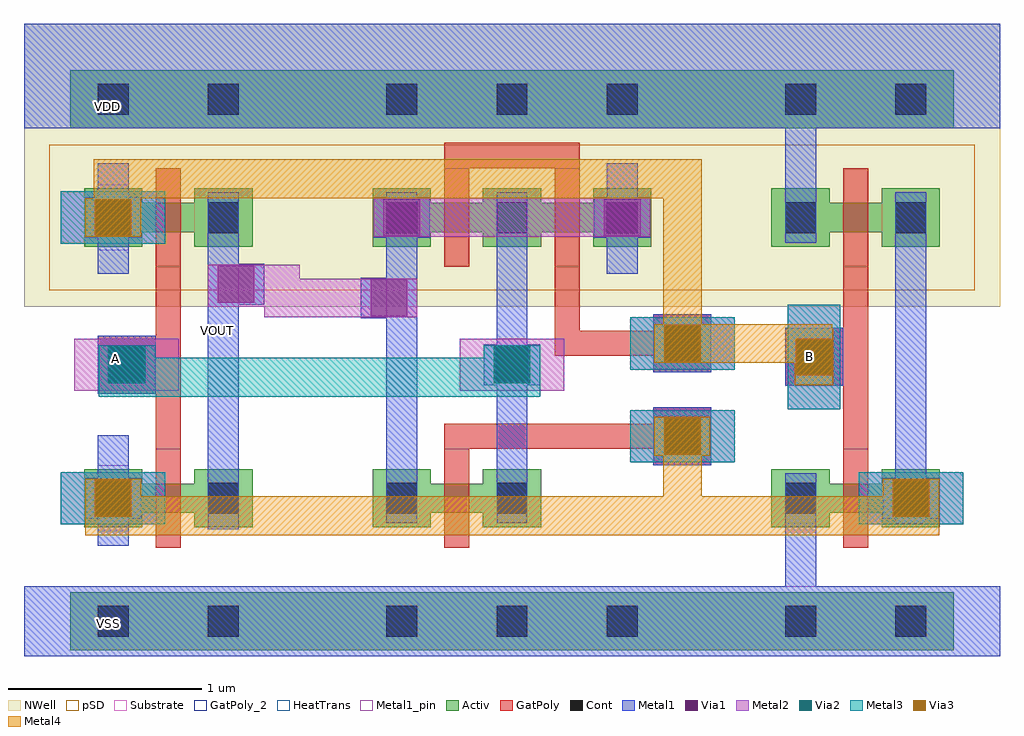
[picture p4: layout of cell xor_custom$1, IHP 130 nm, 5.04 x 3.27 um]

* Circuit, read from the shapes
.subckt xor_custom$1 A B VDD VOUT VSS
XM1 VOUT A inv_CDR$1_0/VOUT VSS sg13_lv_nmos w=0.15u l=0.13u
XM2 A inv_CDR$1_0/VOUT VOUT VSS sg13_lv_nmos w=0.15u l=0.13u
XM3 inv_CDR$1_0/VOUT B VSS VSS sg13_lv_nmos w=0.15u l=0.13u
XM4 VOUT A B VDD sg13_lv_pmos w=0.15u l=0.13u
XM5 A B VOUT VDD sg13_lv_pmos w=0.15u l=0.13u m=2
XM6 inv_CDR$1_0/VOUT B VDD VDD sg13_lv_pmos w=0.15u l=0.13u
.ends

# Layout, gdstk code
import gdstk
lib = gdstk.Library(unit=1e-6, precision=1e-09)
def R(c, l, rs):  # rectangles x0, y0, x1, y1
    for r in rs: c.add(gdstk.rectangle(r[:2], r[2:], *l))
def A(c, l, x, y, w, h, nx, ny, dx, dy):  # array of equal rectangles
    R(c, l, [(x+i*dx, y+j*dy, x+i*dx+w, y+j*dy+h) for i in range(nx) for j in range(ny)])
Activ = (1, 0)
GatPoly = (5, 0)
GatPoly_2 = (5, 2)
Cont = (6, 0)
Metal1 = (8, 0)
Metal1_pin = (8, 2)
Metal2 = (10, 0)
pSD = (14, 0)
Via1 = (19, 0)
Via2 = (29, 0)
Metal3 = (30, 0)
NWell = (31, 0)
Substrate = (40, 0)
Via3 = (49, 0)
Metal4 = (50, 0)
HeatTrans = (51, 0)

pmos_11_1 = lib.new_cell('pmos$11$1')
R(pmos_11_1, Activ, [(0,0,0.3,0.3), (0.57,0,0.87,0.3), (0,0.075,0.87,0.225)])
R(pmos_11_1, GatPoly, [(0.37,-0.105,0.5,0.405)])
R(pmos_11_1, Cont, [(0.07,0.07,0.23,0.23), (0.64,0.07,0.8,0.23)])
R(pmos_11_1, Metal1, [(0.07,0.02,0.23,0.28), (0.64,0.02,0.8,0.28)])
R(pmos_11_1, pSD, [(-0.18,-0.225,1.05,0.525)])
R(pmos_11_1, NWell, [(-0.31,-0.31,1.18,0.61), (-0.31,-0.31,1.18,0.61), (-0.31,-0.31,1.18,0.61), (-0.31,-0.31,1.18,0.61), (-0.31,-0.31,1.18,0.61), (-0.31,-0.31,1.18,0.61)])
R(pmos_11_1, Substrate, [(0.57,0,0.87,0.3), (0.57,0,0.87,0.3), (0.57,0,0.87,0.3), (0.57,0,0.87,0.3), (0.57,0,0.87,0.3), (0.57,0,0.87,0.3)])
R(pmos_11_1, HeatTrans, [(0.37,-0.105,0.5,0.405)])
pmos_11_1.add(gdstk.Label('pmos', (0.435,0.15), layer=63, texttype=0))
pmos_11_1.add(gdstk.Label('pmos', (0.435,0.15), layer=63, texttype=0))
pmos_11_1.add(gdstk.Label('pmos', (0.435,0.15), layer=63, texttype=0))
pmos_11_1.add(gdstk.Label('pmos', (0.435,0.15), layer=63, texttype=0))
pmos_11_1.add(gdstk.Label('pmos', (0.435,0.15), layer=63, texttype=0))
pmos_11_1.add(gdstk.Label('pmos', (0.435,0.15), layer=63, texttype=0))

nmos_19_1 = lib.new_cell('nmos$19$1')
R(nmos_19_1, Activ, [(0,0,0.3,0.3), (0.57,0,0.87,0.3), (0,0.075,0.87,0.225)])
R(nmos_19_1, GatPoly, [(0.37,-0.105,0.5,0.405)])
R(nmos_19_1, GatPoly_2, [(0.37,-0.105,0.5,0.405)])
R(nmos_19_1, Cont, [(0.07,0.07,0.23,0.23), (0.64,0.07,0.8,0.23)])
R(nmos_19_1, Metal1, [(0.07,0.02,0.23,0.28), (0.64,0.02,0.8,0.28)])
R(nmos_19_1, Metal1_pin, [(0.07,0.02,0.23,0.28), (0.64,0.02,0.8,0.28)])
R(nmos_19_1, HeatTrans, [(0.37,-0.105,0.5,0.405)])
nmos_19_1.add(gdstk.Label('nmos', (0.435,0.15), layer=63, texttype=0))
nmos_19_1.add(gdstk.Label('nmos', (0.435,0.15), layer=63, texttype=0))
nmos_19_1.add(gdstk.Label('nmos', (0.435,0.15), layer=63, texttype=0))
nmos_19_1.add(gdstk.Label('nmos', (0.435,0.15), layer=63, texttype=0))
nmos_19_1.add(gdstk.Label('nmos', (0.435,0.15), layer=63, texttype=0))
nmos_19_1.add(gdstk.Label('nmos', (0.435,0.15), layer=63, texttype=0))

inv_cdr_1 = lib.new_cell('inv_CDR$1')
R(inv_cdr_1, Activ, [(0.48,-0.04,1.49,0.26), (0.48,2.655,1.49,2.955)])
R(inv_cdr_1, GatPoly, [(0.92,0.76,1.05,2.45), (0.62,1.325,0.92,1.625)])
R(inv_cdr_1, Cont, [(0.62,0.03,0.78,0.19), (1.19,0.03,1.35,0.19), (0.69,1.395,0.85,1.555), (0.62,2.725,0.78,2.885), (1.19,2.725,1.35,2.885)])
R(inv_cdr_1, Metal1, [(0.24,-0.07,1.73,0.29), (0.62,-0.04,0.78,0.875), (1.19,0.615,1.35,2.325), (0.62,1.325,0.92,1.625), (0.62,2.065,0.78,2.955), (0.24,2.655,1.73,3.195)])
R(inv_cdr_1, Metal1_pin, [(0.24,-0.07,1.73,0.29), (1.19,0.615,1.35,2.325), (0.62,1.325,0.92,1.625), (0.24,2.655,1.73,3.195)])
R(inv_cdr_1, pSD, [(0.24,-0.07,1.73,0.29)])
R(inv_cdr_1, NWell, [(0.24,2.655,1.73,3.195), (0.24,2.655,1.73,3.195), (0.24,2.655,1.73,3.195), (0.24,2.655,1.73,3.195), (0.24,2.655,1.73,3.195)])
inv_cdr_1.add(gdstk.Reference(pmos_11_1, (0.55,2.045)))
inv_cdr_1.add(gdstk.Reference(nmos_19_1, (0.55,0.595)))
inv_cdr_1.add(gdstk.Label('VOUT', (1.24,1.655), layer=8, texttype=25))
inv_cdr_1.add(gdstk.Label('VDD', (0.675,2.805), layer=8, texttype=25))
inv_cdr_1.add(gdstk.Label('VIN', (0.73,1.475), layer=8, texttype=25))
inv_cdr_1.add(gdstk.Label('VSS', (0.64,0.09), layer=8, texttype=25))

pmos_3 = lib.new_cell('pmos$3')
A(pmos_3, Activ, 0, 0, 0.3, 0.3, 3, 1, 0.57, 0)
R(pmos_3, Activ, [(0,0.075,1.44,0.225)])
R(pmos_3, GatPoly, [(0.37,-0.105,0.5,0.405), (0.37,-0.105,0.5,0.405), (0.94,-0.105,1.07,0.405)])
A(pmos_3, Cont, 0.07, 0.07, 0.16, 0.16, 3, 1, 0.57, 0)
R(pmos_3, Metal1, [(0.07,0.02,0.23,0.28), (0.07,0.02,0.23,0.28), (0.64,0.02,0.8,0.28), (0.64,0.02,0.8,0.28), (1.21,0.02,1.37,0.28)])
R(pmos_3, pSD, [(-0.18,-0.225,1.62,0.525)])
R(pmos_3, NWell, [(-0.31,-0.31,1.75,0.61)])
R(pmos_3, Substrate, [(1.14,0,1.44,0.3)])
R(pmos_3, HeatTrans, [(0.37,-0.105,0.5,0.405), (0.94,-0.105,1.07,0.405)])
pmos_3.add(gdstk.Label('pmos', (0.435,0.15), layer=63, texttype=0))
pmos_3.add(gdstk.Label('pmos', (0.435,0.15), layer=51, texttype=0))
pmos_3.add(gdstk.Label('pmos', (1.005,0.15), layer=51, texttype=0))

nmos_1 = lib.new_cell('nmos$1')
R(nmos_1, Activ, [(0,0,0.3,0.3), (0.57,0,0.87,0.3), (0,0.075,0.87,0.225)])
R(nmos_1, GatPoly, [(0.37,-0.105,0.5,0.405)])
R(nmos_1, GatPoly_2, [(0.37,-0.105,0.5,0.405)])
R(nmos_1, Cont, [(0.07,0.07,0.23,0.23), (0.64,0.07,0.8,0.23)])
R(nmos_1, Metal1, [(0.07,0.02,0.23,0.28), (0.64,0.02,0.8,0.28)])
R(nmos_1, Metal1_pin, [(0.07,0.02,0.23,0.28), (0.64,0.02,0.8,0.28)])
R(nmos_1, HeatTrans, [(0.37,-0.105,0.5,0.405)])
nmos_1.add(gdstk.Label('nmos', (0.435,0.15), layer=63, texttype=0))
nmos_1.add(gdstk.Label('nmos', (0.435,0.15), layer=51, texttype=0))

tg_custom_1 = lib.new_cell('tg_custom$1')
R(tg_custom_1, Activ, [(0.445,0.87,2.025,1.17), (0.445,0.87,2.025,1.17), (0.445,0.87,2.025,1.17), (0.445,0.87,2.025,1.17), (0.445,0.87,2.025,1.17), (0.445,0.87,2.025,1.17), (0.445,0.87,2.025,1.17), (0.445,0.87,2.025,1.17), (0.445,0.87,2.025,1.17), (0.445,0.87,2.025,1.17), (0.445,3.565,2.025,3.865), (0.445,3.565,2.025,3.865), (0.445,3.565,2.025,3.865), (0.445,3.565,2.025,3.865), (0.445,3.565,2.025,3.865), (0.445,3.565,2.025,3.865), (0.445,3.565,2.025,3.865), (0.445,3.565,2.025,3.865), (0.445,3.565,2.025,3.865), (0.445,3.565,2.025,3.865)])
R(tg_custom_1, GatPoly, [(1.965,1.825,2.265,2.125), (1.965,1.825,2.265,2.125), (1.965,1.825,2.265,2.125), (1.965,1.825,2.265,2.125), (1.965,1.825,2.265,2.125), (1.965,1.825,2.265,2.125), (1.965,1.825,2.265,2.125), (1.965,1.825,2.265,2.125), (1.965,1.825,2.265,2.125), (1.965,1.825,2.265,2.125), (0.885,1.91,1.965,2.04), (0.885,1.91,1.965,2.04), (0.885,1.91,1.965,2.04), (0.885,1.91,1.965,2.04), (0.885,1.91,1.965,2.04), (0.885,1.91,1.965,2.04), (0.885,1.91,1.965,2.04), (0.885,1.91,1.965,2.04), (0.885,1.91,1.965,2.04), (0.885,1.91,1.965,2.04), (1.965,2.305,2.265,2.605), (1.965,2.305,2.265,2.605), (1.965,2.305,2.265,2.605), (1.965,2.305,2.265,2.605), (1.965,2.305,2.265,2.605), (1.965,2.305,2.265,2.605), (1.965,2.305,2.265,2.605), (1.965,2.305,2.265,2.605), (1.965,2.305,2.265,2.605), (1.965,2.305,2.265,2.605), (1.455,2.39,1.965,2.52), (1.455,2.39,1.965,2.52), (1.455,2.39,1.965,2.52), (1.455,2.39,1.965,2.52), (1.455,2.39,1.965,2.52), (1.455,2.39,1.965,2.52), (1.455,2.39,1.965,2.52), (1.455,2.39,1.965,2.52), (1.455,2.39,1.965,2.52), (1.455,2.39,1.965,2.52), (1.455,2.39,1.585,2.85), (1.455,2.39,1.585,2.85), (1.455,2.39,1.585,2.85), (1.455,2.39,1.585,2.85), (1.455,2.39,1.585,2.85), (1.455,2.39,1.585,2.85), (1.455,2.39,1.585,2.85), (1.455,2.39,1.585,2.85), (1.455,2.39,1.585,2.85), (1.455,2.39,1.585,2.85), (0.885,3.36,1.585,3.49), (0.885,3.36,1.585,3.49), (0.885,3.36,1.585,3.49), (0.885,3.36,1.585,3.49), (0.885,3.36,1.585,3.49), (0.885,3.36,1.585,3.49), (0.885,3.36,1.585,3.49), (0.885,3.36,1.585,3.49), (0.885,3.36,1.585,3.49), (0.885,3.36,1.585,3.49)])
R(tg_custom_1, Cont, [(0.585,0.94,0.745,1.1), (0.585,0.94,0.745,1.1), (0.585,0.94,0.745,1.1), (0.585,0.94,0.745,1.1), (0.585,0.94,0.745,1.1), (0.585,0.94,0.745,1.1), (0.585,0.94,0.745,1.1), (0.585,0.94,0.745,1.1), (0.585,0.94,0.745,1.1), (0.585,0.94,0.745,1.1), (1.155,0.94,1.315,1.1), (1.155,0.94,1.315,1.1), (1.155,0.94,1.315,1.1), (1.155,0.94,1.315,1.1), (1.155,0.94,1.315,1.1), (1.155,0.94,1.315,1.1), (1.155,0.94,1.315,1.1), (1.155,0.94,1.315,1.1), (1.155,0.94,1.315,1.1), (1.155,0.94,1.315,1.1), (1.725,0.94,1.885,1.1), (1.725,0.94,1.885,1.1), (1.725,0.94,1.885,1.1), (1.725,0.94,1.885,1.1), (1.725,0.94,1.885,1.1), (1.725,0.94,1.885,1.1), (1.725,0.94,1.885,1.1), (1.725,0.94,1.885,1.1), (1.725,0.94,1.885,1.1), (1.725,0.94,1.885,1.1), (2.035,1.895,2.195,2.055), (2.035,1.895,2.195,2.055), (2.035,1.895,2.195,2.055), (2.035,1.895,2.195,2.055), (2.035,1.895,2.195,2.055), (2.035,1.895,2.195,2.055), (2.035,1.895,2.195,2.055), (2.035,1.895,2.195,2.055), (2.035,1.895,2.195,2.055), (2.035,1.895,2.195,2.055), (2.035,2.375,2.195,2.535), (2.035,2.375,2.195,2.535), (2.035,2.375,2.195,2.535), (2.035,2.375,2.195,2.535), (2.035,2.375,2.195,2.535), (2.035,2.375,2.195,2.535), (2.035,2.375,2.195,2.535), (2.035,2.375,2.195,2.535), (2.035,2.375,2.195,2.535), (0.585,3.635,0.745,3.795), (0.585,3.635,0.745,3.795), (0.585,3.635,0.745,3.795), (0.585,3.635,0.745,3.795), (0.585,3.635,0.745,3.795), (0.585,3.635,0.745,3.795), (0.585,3.635,0.745,3.795), (0.585,3.635,0.745,3.795), (0.585,3.635,0.745,3.795), (0.585,3.635,0.745,3.795), (1.155,3.635,1.315,3.795), (1.155,3.635,1.315,3.795), (1.155,3.635,1.315,3.795), (1.155,3.635,1.315,3.795), (1.155,3.635,1.315,3.795), (1.155,3.635,1.315,3.795), (1.155,3.635,1.315,3.795), (1.155,3.635,1.315,3.795), (1.155,3.635,1.315,3.795), (1.155,3.635,1.315,3.795), (1.725,3.635,1.885,3.795), (1.725,3.635,1.885,3.795), (1.725,3.635,1.885,3.795), (1.725,3.635,1.885,3.795), (1.725,3.635,1.885,3.795), (1.725,3.635,1.885,3.795), (1.725,3.635,1.885,3.795), (1.725,3.635,1.885,3.795), (1.725,3.635,1.885,3.795), (1.725,3.635,1.885,3.795)])
R(tg_custom_1, Metal1, [(0.205,0.84,2.265,1.2), (0.205,0.84,2.265,1.2), (0.205,0.84,2.265,1.2), (0.205,0.84,2.265,1.2), (0.205,0.84,2.265,1.2), (0.205,0.84,2.265,1.2), (0.205,0.84,2.265,1.2), (0.205,0.84,2.265,1.2), (0.205,0.84,2.265,1.2), (0.205,0.84,2.265,1.2), (0.585,1.525,0.745,3.235), (0.585,1.525,0.745,3.235), (0.585,1.525,0.745,3.235), (0.585,1.525,0.745,3.235), (0.585,1.525,0.745,3.235), (0.585,1.525,0.745,3.235), (0.585,1.525,0.745,3.235), (0.585,1.525,0.745,3.235), (0.585,1.525,0.745,3.235), (0.585,1.525,0.745,3.235), (1.155,1.525,1.315,3.235), (1.155,1.525,1.315,3.235), (1.155,1.525,1.315,3.235), (1.155,1.525,1.315,3.235), (1.155,1.525,1.315,3.235), (1.155,1.525,1.315,3.235), (1.155,1.525,1.315,3.235), (1.155,1.525,1.315,3.235), (1.155,1.525,1.315,3.235), (1.155,1.525,1.315,3.235), (1.965,1.825,2.265,2.125), (1.965,1.825,2.265,2.125), (1.965,1.825,2.265,2.125), (1.965,1.825,2.265,2.125), (1.965,1.825,2.265,2.125), (1.965,1.825,2.265,2.125), (1.965,1.825,2.265,2.125), (1.965,1.825,2.265,2.125), (1.965,1.825,2.265,2.125), (1.965,1.825,2.265,2.125), (1.965,2.305,2.265,2.605), (1.965,2.305,2.265,2.605), (1.965,2.305,2.265,2.605), (1.965,2.305,2.265,2.605), (1.965,2.305,2.265,2.605), (1.965,2.305,2.265,2.605), (1.965,2.305,2.265,2.605), (1.965,2.305,2.265,2.605), (1.965,2.305,2.265,2.605), (1.965,2.305,2.265,2.605), (1.725,2.815,1.885,3.385), (1.725,2.815,1.885,3.385), (1.725,2.815,1.885,3.385), (1.725,2.815,1.885,3.385), (1.725,2.815,1.885,3.385), (1.725,2.815,1.885,3.385), (1.725,2.815,1.885,3.385), (1.725,2.815,1.885,3.385), (1.725,2.815,1.885,3.385), (1.725,2.815,1.885,3.385), (0.52,3,0.81,3.21), (0.52,3,0.81,3.21), (0.52,3,0.81,3.21), (0.52,3,0.81,3.21), (0.52,3,0.81,3.21), (0.52,3,0.81,3.21), (0.52,3,0.81,3.21), (0.52,3,0.81,3.21), (0.52,3,0.81,3.21), (0.52,3,0.81,3.21), (1.66,3,1.95,3.21), (1.66,3,1.95,3.21), (1.66,3,1.95,3.21), (1.66,3,1.95,3.21), (1.66,3,1.95,3.21), (1.66,3,1.95,3.21), (1.66,3,1.95,3.21), (1.66,3,1.95,3.21), (1.66,3,1.95,3.21), (1.66,3,1.95,3.21), (0.205,3.565,2.265,4.105), (0.205,3.565,2.265,4.105), (0.205,3.565,2.265,4.105), (0.205,3.565,2.265,4.105), (0.205,3.565,2.265,4.105), (0.205,3.565,2.265,4.105), (0.205,3.565,2.265,4.105), (0.205,3.565,2.265,4.105), (0.205,3.565,2.265,4.105), (0.205,3.565,2.265,4.105)])
R(tg_custom_1, Metal1_pin, [(0.205,0.84,2.265,1.2), (0.205,0.84,2.265,1.2), (0.205,0.84,2.265,1.2), (0.205,0.84,2.265,1.2), (0.205,0.84,2.265,1.2), (0.205,0.84,2.265,1.2), (0.205,0.84,2.265,1.2), (0.205,0.84,2.265,1.2), (0.205,0.84,2.265,1.2), (0.205,0.84,2.265,1.2), (0.585,1.525,0.745,3.235), (0.585,1.525,0.745,3.235), (0.585,1.525,0.745,3.235), (0.585,1.525,0.745,3.235), (0.585,1.525,0.745,3.235), (0.585,1.525,0.745,3.235), (0.585,1.525,0.745,3.235), (0.585,1.525,0.745,3.235), (0.585,1.525,0.745,3.235), (0.585,1.525,0.745,3.235), (1.155,1.525,1.315,3.235), (1.155,1.525,1.315,3.235), (1.155,1.525,1.315,3.235), (1.155,1.525,1.315,3.235), (1.155,1.525,1.315,3.235), (1.155,1.525,1.315,3.235), (1.155,1.525,1.315,3.235), (1.155,1.525,1.315,3.235), (1.155,1.525,1.315,3.235), (1.155,1.525,1.315,3.235), (1.965,1.825,2.265,2.125), (1.965,1.825,2.265,2.125), (1.965,1.825,2.265,2.125), (1.965,1.825,2.265,2.125), (1.965,1.825,2.265,2.125), (1.965,1.825,2.265,2.125), (1.965,1.825,2.265,2.125), (1.965,1.825,2.265,2.125), (1.965,1.825,2.265,2.125), (1.965,1.825,2.265,2.125), (1.965,2.305,2.265,2.605), (1.965,2.305,2.265,2.605), (1.965,2.305,2.265,2.605), (1.965,2.305,2.265,2.605), (1.965,2.305,2.265,2.605), (1.965,2.305,2.265,2.605), (1.965,2.305,2.265,2.605), (1.965,2.305,2.265,2.605), (1.965,2.305,2.265,2.605), (1.965,2.305,2.265,2.605), (0.205,3.565,2.265,4.105), (0.205,3.565,2.265,4.105), (0.205,3.565,2.265,4.105), (0.205,3.565,2.265,4.105), (0.205,3.565,2.265,4.105), (0.205,3.565,2.265,4.105), (0.205,3.565,2.265,4.105), (0.205,3.565,2.265,4.105), (0.205,3.565,2.265,4.105), (0.205,3.565,2.265,4.105)])
R(tg_custom_1, Metal2, [(0.52,3.005,0.81,3.205), (0.52,3.005,0.81,3.205), (0.52,3.005,0.81,3.205), (0.52,3.005,0.81,3.205), (0.52,3.005,0.81,3.205), (0.52,3.005,0.81,3.205), (0.52,3.005,0.81,3.205), (0.52,3.005,0.81,3.205), (0.52,3.005,0.81,3.205), (0.52,3.005,0.81,3.205), (0.52,3.005,1.95,3.205), (0.52,3.005,1.95,3.205), (0.52,3.005,1.95,3.205), (0.52,3.005,1.95,3.205), (0.52,3.005,1.95,3.205), (0.52,3.005,1.95,3.205), (0.52,3.005,1.95,3.205), (0.52,3.005,1.95,3.205), (0.52,3.005,1.95,3.205), (0.52,3.005,1.95,3.205), (1.66,3.005,1.95,3.205), (1.66,3.005,1.95,3.205), (1.66,3.005,1.95,3.205), (1.66,3.005,1.95,3.205), (1.66,3.005,1.95,3.205), (1.66,3.005,1.95,3.205), (1.66,3.005,1.95,3.205), (1.66,3.005,1.95,3.205), (1.66,3.005,1.95,3.205), (1.66,3.005,1.95,3.205)])
R(tg_custom_1, pSD, [(0.205,0.84,2.265,1.2), (0.205,0.84,2.265,1.2), (0.205,0.84,2.265,1.2), (0.205,0.84,2.265,1.2), (0.205,0.84,2.265,1.2), (0.205,0.84,2.265,1.2), (0.205,0.84,2.265,1.2), (0.205,0.84,2.265,1.2), (0.205,0.84,2.265,1.2), (0.205,0.84,2.265,1.2)])
R(tg_custom_1, Via1, [(0.57,3.01,0.76,3.2), (0.57,3.01,0.76,3.2), (0.57,3.01,0.76,3.2), (0.57,3.01,0.76,3.2), (0.57,3.01,0.76,3.2), (0.57,3.01,0.76,3.2), (0.57,3.01,0.76,3.2), (0.57,3.01,0.76,3.2), (0.57,3.01,0.76,3.2), (0.57,3.01,0.76,3.2), (1.71,3.01,1.9,3.2), (1.71,3.01,1.9,3.2), (1.71,3.01,1.9,3.2), (1.71,3.01,1.9,3.2), (1.71,3.01,1.9,3.2), (1.71,3.01,1.9,3.2), (1.71,3.01,1.9,3.2), (1.71,3.01,1.9,3.2), (1.71,3.01,1.9,3.2), (1.71,3.01,1.9,3.2)])
R(tg_custom_1, NWell, [(0.205,3.565,2.265,4.105), (0.205,3.565,2.265,4.105), (0.205,3.565,2.265,4.105), (0.205,3.565,2.265,4.105), (0.205,3.565,2.265,4.105), (0.205,3.565,2.265,4.105), (0.205,3.565,2.265,4.105), (0.205,3.565,2.265,4.105), (0.205,3.565,2.265,4.105), (0.205,3.565,2.265,4.105)])
tg_custom_1.add(gdstk.Reference(pmos_3, (0.515,2.955)))
tg_custom_1.add(gdstk.Reference(nmos_1, (0.515,1.505)))
tg_custom_1.add(gdstk.Label('VBP', (1.235,3.715), layer=8, texttype=25))
tg_custom_1.add(gdstk.Label('VSN', (2.115,1.975), layer=8, texttype=25))
tg_custom_1.add(gdstk.Label('VIN', (0.6,3.21), layer=8, texttype=25))
tg_custom_1.add(gdstk.Label('VSP', (2.115,2.455), layer=8, texttype=25))
tg_custom_1.add(gdstk.Label('VOUT', (1.16,1.98), layer=8, texttype=25))
tg_custom_1.add(gdstk.Label('VBN', (1.335,1.02), layer=8, texttype=25))
tg_custom_1.add(gdstk.Label('VBP', (1.235,3.715), layer=8, texttype=25))
tg_custom_1.add(gdstk.Label('VSN', (2.115,1.975), layer=8, texttype=25))
tg_custom_1.add(gdstk.Label('VIN', (0.6,3.21), layer=8, texttype=25))
tg_custom_1.add(gdstk.Label('VSP', (2.115,2.455), layer=8, texttype=25))
tg_custom_1.add(gdstk.Label('VOUT', (1.16,1.98), layer=8, texttype=25))
tg_custom_1.add(gdstk.Label('VBN', (1.335,1.02), layer=8, texttype=25))
tg_custom_1.add(gdstk.Label('VBP', (1.235,3.715), layer=8, texttype=25))
tg_custom_1.add(gdstk.Label('VSN', (2.115,1.975), layer=8, texttype=25))
tg_custom_1.add(gdstk.Label('VIN', (0.6,3.21), layer=8, texttype=25))
tg_custom_1.add(gdstk.Label('VSP', (2.115,2.455), layer=8, texttype=25))
tg_custom_1.add(gdstk.Label('VOUT', (1.16,1.98), layer=8, texttype=25))
tg_custom_1.add(gdstk.Label('VBN', (1.335,1.02), layer=8, texttype=25))
tg_custom_1.add(gdstk.Label('VBP', (1.235,3.715), layer=8, texttype=25))
tg_custom_1.add(gdstk.Label('VSN', (2.115,1.975), layer=8, texttype=25))
tg_custom_1.add(gdstk.Label('VIN', (0.6,3.21), layer=8, texttype=25))
tg_custom_1.add(gdstk.Label('VSP', (2.115,2.455), layer=8, texttype=25))
tg_custom_1.add(gdstk.Label('VOUT', (1.16,1.98), layer=8, texttype=25))
tg_custom_1.add(gdstk.Label('VBN', (1.335,1.02), layer=8, texttype=25))
tg_custom_1.add(gdstk.Label('VBP', (1.235,3.715), layer=8, texttype=25))
tg_custom_1.add(gdstk.Label('VSN', (2.115,1.975), layer=8, texttype=25))
tg_custom_1.add(gdstk.Label('VIN', (0.6,3.21), layer=8, texttype=25))
tg_custom_1.add(gdstk.Label('VSP', (2.115,2.455), layer=8, texttype=25))
tg_custom_1.add(gdstk.Label('VOUT', (1.16,1.98), layer=8, texttype=25))
tg_custom_1.add(gdstk.Label('VBN', (1.335,1.02), layer=8, texttype=25))
tg_custom_1.add(gdstk.Label('VBP', (1.235,3.715), layer=8, texttype=25))
tg_custom_1.add(gdstk.Label('VSN', (2.115,1.975), layer=8, texttype=25))
tg_custom_1.add(gdstk.Label('VIN', (0.6,3.21), layer=8, texttype=25))
tg_custom_1.add(gdstk.Label('VSP', (2.115,2.455), layer=8, texttype=25))
tg_custom_1.add(gdstk.Label('VOUT', (1.16,1.98), layer=8, texttype=25))
tg_custom_1.add(gdstk.Label('VBN', (1.335,1.02), layer=8, texttype=25))
tg_custom_1.add(gdstk.Label('VBP', (1.235,3.715), layer=8, texttype=25))
tg_custom_1.add(gdstk.Label('VSN', (2.115,1.975), layer=8, texttype=25))
tg_custom_1.add(gdstk.Label('VIN', (0.6,3.21), layer=8, texttype=25))
tg_custom_1.add(gdstk.Label('VSP', (2.115,2.455), layer=8, texttype=25))
tg_custom_1.add(gdstk.Label('VOUT', (1.16,1.98), layer=8, texttype=25))
tg_custom_1.add(gdstk.Label('VBN', (1.335,1.02), layer=8, texttype=25))
tg_custom_1.add(gdstk.Label('VBP', (1.235,3.715), layer=8, texttype=25))
tg_custom_1.add(gdstk.Label('VSN', (2.115,1.975), layer=8, texttype=25))
tg_custom_1.add(gdstk.Label('VIN', (0.6,3.21), layer=8, texttype=25))
tg_custom_1.add(gdstk.Label('VSP', (2.115,2.455), layer=8, texttype=25))
tg_custom_1.add(gdstk.Label('VOUT', (1.16,1.98), layer=8, texttype=25))
tg_custom_1.add(gdstk.Label('VBN', (1.335,1.02), layer=8, texttype=25))
tg_custom_1.add(gdstk.Label('VBP', (1.235,3.715), layer=8, texttype=25))
tg_custom_1.add(gdstk.Label('VSN', (2.115,1.975), layer=8, texttype=25))
tg_custom_1.add(gdstk.Label('VIN', (0.6,3.21), layer=8, texttype=25))
tg_custom_1.add(gdstk.Label('VSP', (2.115,2.455), layer=8, texttype=25))
tg_custom_1.add(gdstk.Label('VOUT', (1.16,1.98), layer=8, texttype=25))
tg_custom_1.add(gdstk.Label('VBN', (1.335,1.02), layer=8, texttype=25))
tg_custom_1.add(gdstk.Label('VBP', (1.235,3.715), layer=8, texttype=25))
tg_custom_1.add(gdstk.Label('VSN', (2.115,1.975), layer=8, texttype=25))
tg_custom_1.add(gdstk.Label('VIN', (0.6,3.21), layer=8, texttype=25))
tg_custom_1.add(gdstk.Label('VSP', (2.115,2.455), layer=8, texttype=25))
tg_custom_1.add(gdstk.Label('VOUT', (1.16,1.98), layer=8, texttype=25))
tg_custom_1.add(gdstk.Label('VBN', (1.335,1.02), layer=8, texttype=25))

nmos_4_9_1 = lib.new_cell('nmos$4$9$1')
R(nmos_4_9_1, Activ, [(0,0,0.3,0.3), (0.57,0,0.87,0.3), (0,0.075,0.87,0.225)])
R(nmos_4_9_1, GatPoly, [(0.37,-0.105,0.5,0.405)])
R(nmos_4_9_1, GatPoly_2, [(0.37,-0.105,0.5,0.405)])
R(nmos_4_9_1, Cont, [(0.07,0.07,0.23,0.23), (0.64,0.07,0.8,0.23)])
R(nmos_4_9_1, Metal1, [(0.07,0.02,0.23,0.28), (0.64,0.02,0.8,0.28)])
R(nmos_4_9_1, Metal1_pin, [(0.07,0.02,0.23,0.28), (0.64,0.02,0.8,0.28)])
R(nmos_4_9_1, HeatTrans, [(0.37,-0.105,0.5,0.405)])
nmos_4_9_1.add(gdstk.Label('nmos', (0.435,0.15), layer=63, texttype=0))
nmos_4_9_1.add(gdstk.Label('nmos', (0.435,0.15), layer=51, texttype=0))

pmos_3_1_1_1 = lib.new_cell('pmos$3$1$1$1')
R(pmos_3_1_1_1, Activ, [(0,0,0.3,0.3), (0.57,0,0.87,0.3), (0,0.075,0.87,0.225)])
R(pmos_3_1_1_1, GatPoly, [(0.37,-0.105,0.5,0.405), (0.37,-0.105,0.5,0.405)])
R(pmos_3_1_1_1, Cont, [(0.07,0.07,0.23,0.23), (0.64,0.07,0.8,0.23)])
R(pmos_3_1_1_1, Metal1, [(0.07,0.02,0.23,0.28), (0.07,0.02,0.23,0.28), (0.64,0.02,0.8,0.28), (0.64,0.02,0.8,0.28)])
R(pmos_3_1_1_1, pSD, [(-0.18,-0.225,1.05,0.525)])
R(pmos_3_1_1_1, NWell, [(-0.31,-0.31,1.18,0.61)])
R(pmos_3_1_1_1, Substrate, [(0.57,0,0.87,0.3)])
R(pmos_3_1_1_1, HeatTrans, [(0.37,-0.105,0.5,0.405)])
pmos_3_1_1_1.add(gdstk.Label('pmos', (0.435,0.15), layer=63, texttype=0))
pmos_3_1_1_1.add(gdstk.Label('pmos', (0.435,0.15), layer=51, texttype=0))

inv_xor_1 = lib.new_cell('inv_xor$1')
R(inv_xor_1, Activ, [(1.29,-0.04,2.3,0.26), (1.29,-0.04,2.3,0.26), (1.29,-0.04,2.3,0.26), (1.29,-0.04,2.3,0.26), (1.29,2.655,2.3,2.955), (1.29,2.655,2.3,2.955), (1.29,2.655,2.3,2.955), (1.29,2.655,2.3,2.955)])
R(inv_xor_1, GatPoly, [(1.73,0.49,1.86,2.45), (1.73,0.49,1.86,2.45), (1.73,0.49,1.86,2.45), (1.73,0.49,1.86,2.45), (1.43,1.285,1.73,1.585), (1.43,1.285,1.73,1.585), (1.43,1.285,1.73,1.585), (1.43,1.285,1.73,1.585)])
R(inv_xor_1, Cont, [(1.43,0.03,1.59,0.19), (1.43,0.03,1.59,0.19), (1.43,0.03,1.59,0.19), (1.43,0.03,1.59,0.19), (2,0.03,2.16,0.19), (2,0.03,2.16,0.19), (2,0.03,2.16,0.19), (2,0.03,2.16,0.19), (1.5,1.355,1.66,1.515), (1.5,1.355,1.66,1.515), (1.5,1.355,1.66,1.515), (1.5,1.355,1.66,1.515), (1.43,2.725,1.59,2.885), (1.43,2.725,1.59,2.885), (1.43,2.725,1.59,2.885), (1.43,2.725,1.59,2.885), (2,2.725,2.16,2.885), (2,2.725,2.16,2.885), (2,2.725,2.16,2.885), (2,2.725,2.16,2.885)])
R(inv_xor_1, Metal1, [(1.05,-0.07,2.54,0.29), (1.05,-0.07,2.54,0.29), (1.05,-0.07,2.54,0.29), (1.05,-0.07,2.54,0.29), (1.43,0.5,1.59,1.07), (1.43,0.5,1.59,1.07), (1.43,0.5,1.59,1.07), (1.43,0.5,1.59,1.07), (2,0.585,2.16,2.325), (2,0.585,2.16,2.325), (2,0.615,2.16,2.325), (2,0.615,2.16,2.325), (1.43,1.285,1.73,1.585), (1.43,1.285,1.73,1.585), (1.43,1.285,1.73,1.585), (1.43,1.285,1.73,1.585), (1.43,1.905,1.59,2.475), (1.43,1.905,1.59,2.475), (1.43,1.905,1.59,2.475), (1.43,1.905,1.59,2.475), (1.05,2.655,2.54,3.195), (1.05,2.655,2.54,3.195), (1.05,2.655,2.54,3.195), (1.05,2.655,2.54,3.195)])
R(inv_xor_1, Metal1_pin, [(1.05,-0.07,2.54,0.29), (1.05,-0.07,2.54,0.29), (1.05,-0.07,2.54,0.29), (1.05,-0.07,2.54,0.29), (1.43,0.575,1.59,0.915), (1.43,0.575,1.59,0.915), (1.43,0.575,1.59,0.915), (1.43,0.575,1.59,0.915), (2,0.585,2.16,2.325), (2,0.585,2.16,2.325), (2,0.585,2.16,2.325), (2,0.585,2.16,2.325), (1.43,1.285,1.73,1.585), (1.43,1.285,1.73,1.585), (1.43,1.285,1.73,1.585), (1.43,1.285,1.73,1.585), (1.43,2.025,1.59,2.365), (1.43,2.025,1.59,2.365), (1.43,2.025,1.59,2.365), (1.43,2.025,1.59,2.365), (1.05,2.655,2.54,3.195), (1.05,2.655,2.54,3.195), (1.05,2.655,2.54,3.195), (1.05,2.655,2.54,3.195)])
R(inv_xor_1, pSD, [(1.05,-0.07,2.54,0.29), (1.05,-0.07,2.54,0.29), (1.05,-0.07,2.54,0.29), (1.05,-0.07,2.54,0.29)])
R(inv_xor_1, NWell, [(1.05,2.655,2.54,3.195), (1.05,2.655,2.54,3.195), (1.05,2.655,2.54,3.195), (1.05,2.655,2.54,3.195)])
inv_xor_1.add(gdstk.Reference(nmos_4_9_1, (1.36,0.595)))
inv_xor_1.add(gdstk.Reference(pmos_3_1_1_1, (1.36,2.045)))
inv_xor_1.add(gdstk.Label('VBN', (1.74,0.025), layer=8, texttype=25))
inv_xor_1.add(gdstk.Label('VSS', (1.475,0.725), layer=8, texttype=25))
inv_xor_1.add(gdstk.Label('VBN', (1.74,0.025), layer=8, texttype=25))
inv_xor_1.add(gdstk.Label('VSS', (1.475,0.725), layer=8, texttype=25))
inv_xor_1.add(gdstk.Label('VIN', (1.575,1.405), layer=8, texttype=25))
inv_xor_1.add(gdstk.Label('VOUT', (2.04,1.64), layer=8, texttype=25))
inv_xor_1.add(gdstk.Label('VDD', (1.47,2.18), layer=8, texttype=25))
inv_xor_1.add(gdstk.Label('VBP', (1.75,2.785), layer=8, texttype=25))
inv_xor_1.add(gdstk.Label('VIN', (1.575,1.405), layer=8, texttype=25))
inv_xor_1.add(gdstk.Label('VOUT', (2.04,1.64), layer=8, texttype=25))
inv_xor_1.add(gdstk.Label('VDD', (1.47,2.18), layer=8, texttype=25))
inv_xor_1.add(gdstk.Label('VBP', (1.75,2.785), layer=8, texttype=25))
inv_xor_1.add(gdstk.Label('VBN', (1.74,0.025), layer=8, texttype=25))
inv_xor_1.add(gdstk.Label('VSS', (1.475,0.725), layer=8, texttype=25))
inv_xor_1.add(gdstk.Label('VBN', (1.74,0.025), layer=8, texttype=25))
inv_xor_1.add(gdstk.Label('VSS', (1.475,0.725), layer=8, texttype=25))
inv_xor_1.add(gdstk.Label('VIN', (1.575,1.405), layer=8, texttype=25))
inv_xor_1.add(gdstk.Label('VOUT', (2.04,1.64), layer=8, texttype=25))
inv_xor_1.add(gdstk.Label('VDD', (1.47,2.18), layer=8, texttype=25))
inv_xor_1.add(gdstk.Label('VBP', (1.75,2.785), layer=8, texttype=25))
inv_xor_1.add(gdstk.Label('VIN', (1.575,1.405), layer=8, texttype=25))
inv_xor_1.add(gdstk.Label('VOUT', (2.04,1.64), layer=8, texttype=25))
inv_xor_1.add(gdstk.Label('VDD', (1.47,2.18), layer=8, texttype=25))
inv_xor_1.add(gdstk.Label('VBP', (1.75,2.785), layer=8, texttype=25))

xor_custom_1 = lib.new_cell('xor_custom$1')
R(xor_custom_1, Activ, [(6.455,0.87,6.935,1.17), (8.515,0.87,8.995,1.17), (6.455,3.565,6.935,3.865), (8.515,3.565,8.995,3.865)])
R(xor_custom_1, Metal1, [(5.52,1.55,5.81,1.76), (9.64,1.55,9.93,1.76), (8.46,1.87,8.75,2.08), (5.59,2.24,5.88,2.45), (7.58,2.24,7.87,2.45), (9.18,2.24,9.39,2.53), (8.46,2.35,8.75,2.56), (6.945,2.585,7.235,2.795), (6.155,2.655,6.445,2.865), (5.52,3,5.81,3.21)])
R(xor_custom_1, Metal2, [(5.395,1.52,5.935,1.79), (9.515,1.52,10.055,1.79), (8.335,1.84,8.875,2.11), (9.15,2.115,9.42,2.655), (5.465,2.21,6.005,2.48), (7.455,2.21,7.995,2.48), (8.335,2.32,8.875,2.59), (6.445,2.59,7.235,2.79), (6.445,2.59,6.63,2.86), (6.945,2.59,7.235,2.79), (6.155,2.645,6.63,2.86), (6.155,2.66,6.445,2.86), (5.395,2.97,5.935,3.24)])
R(xor_custom_1, pSD, [(6.565,2.73,6.825,3.48), (8.625,2.73,8.885,3.48)])
R(xor_custom_1, Via1, [(5.57,1.56,5.76,1.75), (9.69,1.56,9.88,1.75), (8.51,1.88,8.7,2.07), (5.64,2.25,5.83,2.44), (7.63,2.25,7.82,2.44), (9.19,2.29,9.38,2.48), (8.51,2.36,8.7,2.55), (6.995,2.595,7.185,2.785), (6.205,2.665,6.395,2.855), (5.57,3.01,5.76,3.2)])
R(xor_custom_1, Via2, [(5.57,1.56,5.76,1.75), (9.69,1.56,9.88,1.75), (8.51,1.88,8.7,2.07), (5.64,2.25,5.83,2.44), (7.63,2.25,7.82,2.44), (9.19,2.29,9.38,2.48), (8.51,2.36,8.7,2.55), (5.57,3.01,5.76,3.2)])
R(xor_custom_1, Metal3, [(5.395,1.52,5.935,1.79), (9.515,1.52,10.055,1.79), (8.335,1.84,8.875,2.11), (9.15,2.115,9.42,2.655), (5.59,2.18,7.87,2.38), (5.59,2.18,5.885,2.445), (7.58,2.18,7.87,2.445), (5.59,2.245,5.88,2.445), (7.58,2.245,7.87,2.445), (8.335,2.32,8.875,2.59), (5.395,2.97,5.935,3.24)])
R(xor_custom_1, Via3, [(5.57,1.56,5.76,1.75), (9.69,1.56,9.88,1.75), (8.51,1.88,8.7,2.07), (9.19,2.29,9.38,2.48), (8.51,2.36,8.7,2.55), (5.57,3.01,5.76,3.2)])
R(xor_custom_1, Metal4, [(5.52,1.465,9.93,1.665), (5.52,1.465,5.81,1.755), (8.505,1.465,8.705,2.075), (9.64,1.465,9.93,1.755), (5.52,1.555,5.81,1.755), (9.64,1.555,9.93,1.755), (8.46,1.875,8.75,2.075), (9.185,2.24,9.385,2.53), (9.19,2.285,9.38,2.555), (8.46,2.355,8.75,2.555), (8.46,2.355,9.38,2.555), (8.505,2.355,8.705,3.405), (5.52,3.005,5.81,3.205), (5.565,3.005,5.765,3.405), (5.565,3.205,8.705,3.405)])
xor_custom_1.add(gdstk.Reference(inv_cdr_1, (8.515,0.91)))
xor_custom_1.add(gdstk.Reference(tg_custom_1, (6.49,0)))
xor_custom_1.add(gdstk.Reference(inv_xor_1, (4.155,0.91)))
xor_custom_1.add(gdstk.Label('A', (5.68,2.375), layer=8, texttype=25))
xor_custom_1.add(gdstk.Label('VSS', (5.64,1.01), layer=8, texttype=25))
xor_custom_1.add(gdstk.Label('VDD', (5.635,3.68), layer=8, texttype=25))
xor_custom_1.add(gdstk.Label('B', (9.26,2.385), layer=8, texttype=25))
xor_custom_1.add(gdstk.Label('VOUT', (6.205,2.52), layer=8, texttype=25))

lib.write_gds('xor_custom_1.gds')
